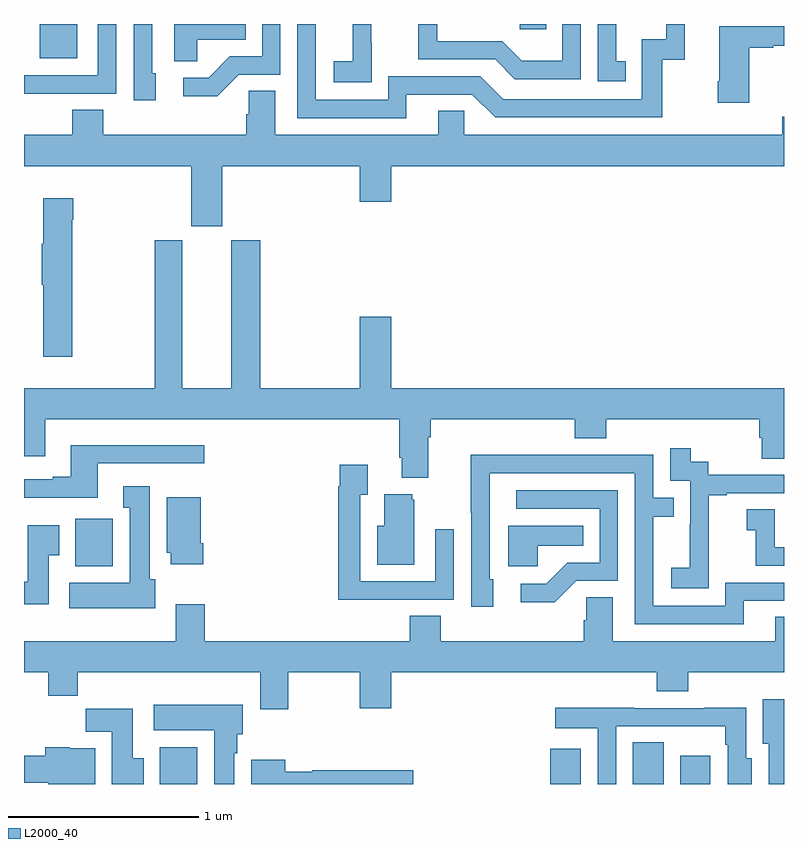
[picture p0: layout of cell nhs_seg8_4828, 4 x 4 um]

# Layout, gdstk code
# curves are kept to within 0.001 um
import gdstk
lib = gdstk.Library(unit=1e-6, precision=1e-09)
def R(c, l, rs):  # rectangles x0, y0, x1, y1
    for r in rs: c.add(gdstk.rectangle(r[:2], r[2:], *l))
def P(c, l, *ps):  # polygons
    for p in ps: c.add(gdstk.Polygon(p, *l))
L2000_40 = (2000, 40)

nhs_seg8_4828 = lib.new_cell('nhs_seg8_4828')
R(nhs_seg8_4828, L2000_40, [(403.715,1127.9,403.911,1128.094), (405.77,1127.9,405.931,1128.085), (406.205,1127.9,406.366,1128.119), (406.454,1127.9,406.612,1128.049), (403.271,1129.046,403.467,1129.297), (403.082,1131.719,403.279,1131.9), (405.609,1131.873,405.749,1131.9)])
P(nhs_seg8_4828, L2000_40, [(403.169,1131.534),(403.485,1131.534),(403.485,1131.9),(403.389,1131.9),(403.389,1131.63),(403,1131.63),(403,1131.533),(403.169,1131.533)],
  [(405.93,1131.9),(405.834,1131.9),(405.834,1131.706),(405.62,1131.706),(405.516,1131.81),(405.174,1131.81),(405.174,1131.9),(405.027,1131.899),(405.076,1131.899),(405.076,1131.714),(405.479,1131.714),(405.584,1131.609),(405.93,1131.609)],
  [(403.911,1131.818),(404.168,1131.818),(404.168,1131.9),(403.79,1131.9),(403.79,1131.703),(403.911,1131.703)],
  [(404.13,1131.633),(404.349,1131.633),(404.349,1131.9),(404.253,1131.9),(404.253,1131.729),(404.084,1131.729),(403.973,1131.618),(403.839,1131.618),(403.839,1131.521),(404.017,1131.521)],
  [(406.166,1131.705),(406.117,1131.705),(406.117,1131.9),(406.02,1131.9),(406.02,1131.6),(406.166,1131.6)],
  [(403.693,1131.642),(403.674,1131.642),(403.674,1131.9),(403.578,1131.9),(403.578,1131.498),(403.693,1131.498)],
  [(405.013,1131.528),(405.36,1131.528),(405.48,1131.408),(406.36,1131.408),(406.36,1131.711),(406.478,1131.711),(406.478,1131.9),(406.38,1131.9),(406.38,1131.819),(406.251,1131.819),(406.251,1131.504),(405.522,1131.504),(405.402,1131.624),(404.916,1131.624),(404.916,1131.501),(404.535,1131.501),(404.535,1131.9),(404.439,1131.9),(404.439,1131.405),(405.013,1131.405)],
  [(404.829,1131.799),(404.828,1131.799),(404.828,1131.9),(404.729,1131.9),(404.729,1131.703),(404.631,1131.703),(404.631,1131.593),(404.829,1131.593)],
  [(406.816,1131.775),(406.943,1131.775),(406.943,1131.785),(407,1131.785),(407,1131.889),(406.658,1131.889),(406.658,1131.598),(406.651,1131.598),(406.651,1131.486),(406.816,1131.486)],
  [(404.768,1130.964),(404.932,1130.964),(404.932,1131.152),(407,1131.152),(407,1131.412),(406.991,1131.412),(406.991,1131.316),(405.318,1131.316),(405.318,1131.443),(405.179,1131.443),(405.179,1131.316),(404.323,1131.316),(404.323,1131.548),(404.184,1131.548),(404.184,1131.425),(404.171,1131.425),(404.171,1131.316),(403.418,1131.316),(403.418,1131.449),(403.253,1131.449),(403.253,1131.316),(403,1131.316),(403,1131.152),(403.88,1131.152),(403.88,1130.835),(404.044,1130.835),(404.044,1131.152),(404.768,1131.152)],
  [(403.254,1130.87),(403.259,1130.87),(403.259,1130.983),(403.1,1130.983),(403.1,1130.744),(403.093,1130.744),(403.093,1130.527),(403.1,1130.527),(403.1,1130.148),(403.254,1130.148)],
  [(405.127,1129.724),(405.14,1129.724),(405.14,1129.82),(405.899,1129.82),(405.899,1129.721),(406.064,1129.721),(406.064,1129.82),(406.871,1129.82),(406.871,1129.722),(406.883,1129.722),(406.883,1129.612),(407,1129.612),(407,1129.984),(404.932,1129.984),(404.932,1130.359),(404.768,1130.359),(404.768,1129.984),(404.243,1129.984),(404.243,1130.763),(404.09,1130.763),(404.09,1129.984),(403.834,1129.984),(403.834,1130.763),(403.687,1130.763),(403.687,1129.984),(403,1129.984),(403,1129.626),(403.111,1129.626),(403.111,1129.82),(404.975,1129.82),(404.975,1129.618),(404.987,1129.618),(404.987,1129.511),(405.127,1129.511)],
  [(403.387,1129.587),(403.948,1129.587),(403.948,1129.684),(403.247,1129.684),(403.247,1129.516),(403.151,1129.516),(403.151,1129.503),(403,1129.503),(403,1129.406),(403.387,1129.406)],
  [(406.605,1129.135),(406.604,1129.135),(406.604,1129.419),(406.699,1129.419),(406.699,1129.431),(407,1129.431),(407,1129.527),(406.602,1129.527),(406.602,1129.596),(406.51,1129.596),(406.51,1129.666),(406.401,1129.666),(406.401,1129.497),(406.506,1129.497),(406.506,1129.268),(406.505,1129.268),(406.505,1129.039),(406.407,1129.039),(406.407,1128.929),(406.605,1128.929)],
  [(406.789,1128.864),(407,1128.864),(407,1128.96),(406.692,1128.96),(406.692,1128.837),(406.311,1128.837),(406.311,1129.306),(406.421,1129.306),(406.421,1129.407),(406.311,1129.407),(406.311,1129.632),(405.815,1129.632),(405.815,1129.634),(405.352,1129.634),(405.352,1129.327),(405.354,1129.327),(405.354,1128.834),(405.469,1128.834),(405.469,1128.978),(405.45,1128.978),(405.45,1129.282),(405.451,1129.282),(405.451,1129.536),(406.215,1129.536),(406.215,1128.741),(406.789,1128.741)],
  [(404.945,1128.87),(405.261,1128.87),(405.261,1129.24),(405.165,1129.24),(405.165,1128.966),(404.769,1128.966),(404.769,1129.423),(404.809,1129.423),(404.809,1129.579),(404.661,1129.579),(404.661,1129.466),(404.653,1129.466),(404.653,1128.869),(404.945,1128.869)],
  [(403.69,1128.978),(403.663,1128.978),(403.663,1129.468),(403.523,1129.468),(403.523,1129.355),(403.556,1129.355),(403.556,1128.958),(403.239,1128.958),(403.239,1128.824),(403.69,1128.824)],
  [(405.906,1128.969),(406.125,1128.969),(406.125,1129.446),(405.591,1129.446),(405.591,1129.35),(406.029,1129.35),(406.029,1129.065),(405.86,1129.065),(405.749,1128.954),(405.615,1128.954),(405.615,1128.857),(405.793,1128.857)],
  [(405.055,1129.395),(405.044,1129.395),(405.044,1129.426),(404.897,1129.426),(404.897,1129.258),(404.858,1129.258),(404.858,1129.055),(405.055,1129.055)],
  [(403.943,1129.168),(403.93,1129.168),(403.93,1129.408),(403.751,1129.408),(403.751,1129.116),(403.772,1129.116),(403.772,1129.056),(403.943,1129.056)],
  [(407,1129.146),(406.95,1129.146),(406.95,1129.345),(406.803,1129.345),(406.803,1129.235),(406.852,1129.235),(406.852,1129.05),(407,1129.05)],
  [(403.129,1129.105),(403.186,1129.105),(403.186,1129.261),(403.019,1129.261),(403.019,1128.964),(403,1128.964),(403,1128.846),(403.129,1128.846)],
  [(405.705,1129.154),(405.944,1129.154),(405.944,1129.258),(405.548,1129.258),(405.548,1129.046),(405.705,1129.046)],
  [(403.799,1128.847),(403.799,1128.652),(403,1128.652),(403,1128.488),(403.127,1128.488),(403.127,1128.364),(403.283,1128.364),(403.283,1128.488),(404.243,1128.488),(404.243,1128.294),(404.391,1128.294),(404.391,1128.488),(404.768,1128.488),(404.768,1128.3),(404.932,1128.3),(404.932,1128.488),(406.331,1128.488),(406.331,1128.389),(406.496,1128.389),(406.496,1128.488),(407,1128.488),(407,1128.779),(406.955,1128.779),(406.955,1128.652),(406.099,1128.652),(406.099,1128.884),(405.96,1128.884),(405.96,1128.761),(405.947,1128.761),(405.947,1128.652),(405.194,1128.652),(405.194,1128.785),(405.029,1128.785),(405.029,1128.652),(403.952,1128.652),(403.952,1128.847)],
  [(407,1128.346),(406.889,1128.346),(406.889,1128.113),(406.919,1128.113),(406.919,1127.9),(407,1127.9)],
  [(404.107,1128.062),(404.122,1128.062),(404.122,1128.162),(404.152,1128.162),(404.152,1128.316),(403.683,1128.316),(403.683,1128.182),(404,1128.182),(404,1127.9),(404.107,1127.9)],
  [(406.116,1128.204),(406.462,1128.204),(406.462,1128.203),(406.692,1128.203),(406.692,1128.107),(406.704,1128.107),(406.704,1127.9),(406.831,1127.9),(406.831,1128.036),(406.8,1128.036),(406.8,1128.302),(406.579,1128.302),(406.579,1128.3),(406.213,1128.3),(406.213,1128.302),(405.795,1128.302),(405.795,1128.194),(406.02,1128.194),(406.02,1127.9),(406.116,1127.9)],
  [(403.63,1128.036),(403.573,1128.036),(403.573,1128.295),(403.324,1128.295),(403.324,1128.176),(403.463,1128.176),(403.463,1127.9),(403.63,1127.9)],
  [(403.375,1128.088),(403.242,1128.088),(403.242,1128.094),(403.112,1128.094),(403.112,1128.048),(403,1128.048),(403,1127.906),(403.128,1127.906),(403.128,1127.9),(403.375,1127.9)],
  [(405.049,1127.973),(404.517,1127.973),(404.517,1127.965),(404.374,1127.965),(404.374,1128.028),(404.195,1128.028),(404.195,1127.9),(405.049,1127.9)])

lib.write_gds('nhs_seg8_4828.gds')
